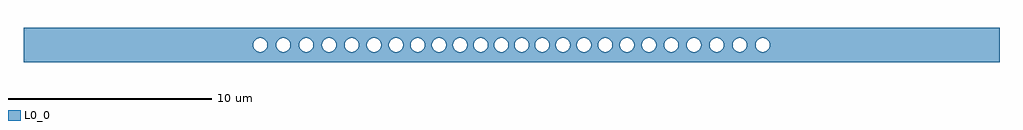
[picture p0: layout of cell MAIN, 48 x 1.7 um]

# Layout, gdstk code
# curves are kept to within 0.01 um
import gdstk
lib = gdstk.Library(unit=1e-6, precision=1e-09)
def P(c, l, *ps):  # polygons
    for p in ps: c.add(gdstk.Polygon(p, *l))
L0_0 = (0, 0)

main = lib.new_cell('MAIN')
P(main, L0_0, [(-12.388,-0.352),(-12.505,-0.32),(-12.615,-0.239),(-12.615,-0.85),(-12.388,-0.85)],
  [(-12.377,0.353),(-12.246,0.337),(-12.122,0.267),(-12.043,0.168),(-12.006,0.058),(-12.006,0.85),(-12.388,0.85),(-12.388,0.352)],
  [(-12.006,-0.058),(-12.051,-0.182),(-12.131,-0.274),(-12.246,-0.337),(-12.388,-0.352),(-12.388,-0.85),(-12.006,-0.85)],
  [(24,0.85),(12.617,0.85),(12.617,0.237),(12.68,0.139),(12.708,0.016),(12.684,-0.129),(12.617,-0.237),(12.617,-0.85),(24,-0.85)],
  [(-11.308,0.343),(-11.176,0.351),(-11.065,0.317),(-10.956,0.233),(-10.891,0.125),(-10.891,0.85),(-11.318,0.85),(-11.318,0.34)],
  [(-10.891,-0.125),(-10.956,-0.233),(-11.065,-0.317),(-11.197,-0.353),(-11.318,-0.34),(-11.318,-0.85),(-10.891,-0.85)],
  [(-11.576,0.003),(-11.558,0.112),(-11.497,0.223),(-11.41,0.3),(-11.318,0.34),(-11.318,0.85),(-12.006,0.85),(-12.001,0)],
  [(-10.243,0.32),(-10.115,0.353),(-9.984,0.337),(-9.86,0.267),(-9.789,0.182),(-9.789,0.85),(-10.252,0.85)],
  [(-9.789,-0.182),(-9.869,-0.274),(-9.994,-0.34),(-10.126,-0.352),(-10.252,-0.315),(-10.252,-0.85),(-9.789,-0.85)],
  [(-10.446,0.003),(-10.433,0.097),(-10.389,0.193),(-10.327,0.265),(-10.252,0.315),(-10.252,0.85),(-10.891,0.85),(-10.891,0.125),(-10.869,0)],
  [(-9.175,0.288),(-9.061,0.342),(-8.924,0.351),(-8.803,0.312),(-8.708,0.237),(-8.708,0.85),(-9.184,0.85)],
  [(-8.708,-0.237),(-8.803,-0.312),(-8.934,-0.352),(-9.061,-0.342),(-9.184,-0.282),(-9.184,-0.85),(-8.708,-0.85)],
  [(-9.324,0.003),(-9.312,0.092),(-9.283,0.166),(-9.184,0.282),(-9.184,0.85),(-9.789,0.85),(-9.789,0.182),(-9.75,0.089),(-9.739,0)],
  [(-8.119,0.239),(-8.014,0.318),(-7.881,0.353),(-7.75,0.337),(-7.643,0.28),(-7.643,0.85),(-8.123,0.85)],
  [(-7.643,-0.28),(-7.75,-0.337),(-7.892,-0.352),(-8.014,-0.318),(-8.123,-0.235),(-8.123,-0.85),(-7.643,-0.85)],
  [(-8.212,0.003),(-8.189,0.127),(-8.123,0.235),(-8.123,0.85),(-8.708,0.85),(-8.708,0.237),(-8.637,0.12),(-8.617,0)],
  [(-7.06,0.188),(-6.979,0.279),(-6.851,0.342),(-6.715,0.351),(-6.604,0.317),(-6.604,0.85),(-7.063,0.85)],
  [(-6.604,-0.317),(-6.736,-0.353),(-6.872,-0.336),(-6.979,-0.279),(-7.063,-0.184),(-7.063,-0.85),(-6.604,-0.85)],
  [(-7.114,0.003),(-7.104,0.087),(-7.063,0.184),(-7.063,0.85),(-7.643,0.85),(-7.643,0.28),(-7.54,0.154),(-7.505,0)],
  [(-6.007,0.132),(-5.936,0.243),(-5.834,0.318),(-5.701,0.353),(-5.581,0.34),(-5.581,0.85),(-6.009,0.85)],
  [(-5.581,-0.34),(-5.701,-0.353),(-5.834,-0.318),(-5.936,-0.243),(-6.009,-0.127),(-6.009,-0.85),(-5.581,-0.85)],
  [(-6.032,0.003),(-6.009,0.127),(-6.009,0.85),(-6.604,0.85),(-6.604,0.317),(-6.521,0.26),(-6.463,0.191),(-6.426,0.115),(-6.407,0)],
  [(-4.96,0.066),(-4.915,0.184),(-4.831,0.279),(-4.714,0.339),(-4.582,0.352),(-4.582,0.85),(-4.961,0.85)],
  [(-4.582,-0.352),(-4.714,-0.339),(-4.831,-0.279),(-4.915,-0.184),(-4.961,-0.061),(-4.961,-0.85),(-4.582,-0.85)],
  [(-4.966,0.003),(-4.961,0.85),(-5.581,0.85),(-5.581,0.34),(-5.48,0.293),(-5.399,0.217),(-5.344,0.115),(-5.325,0)],
  [(-3.917,0.003),(-3.894,0.127),(-3.821,0.243),(-3.719,0.318),(-3.597,0.352),(-3.597,0.85),(-4.259,0.85),(-4.259,-0.003)],
  [(-3.597,-0.352),(-3.719,-0.318),(-3.821,-0.243),(-3.888,-0.142),(-3.917,-0.003),(-4.259,-0.003),(-4.259,-0.85),(-3.597,-0.85)],
  [(-3.586,0.353),(-3.455,0.337),(-3.34,0.274),(-3.26,0.182),(-3.216,0.063),(-3.216,0.85),(-3.597,0.85),(-3.597,0.352)],
  [(-3.216,-0.063),(-3.26,-0.182),(-3.361,-0.29),(-3.481,-0.344),(-3.597,-0.352),(-3.597,-0.85),(-3.216,-0.85)],
  [(-4.259,0.85),(-4.582,0.85),(-4.582,0.352),(-4.46,0.319),(-4.361,0.249),(-4.282,0.125),(-4.259,0)],
  [(-2.62,0.342),(-2.484,0.351),(-2.363,0.312),(-2.271,0.241),(-2.199,0.125),(-2.199,0.85),(-2.631,0.85),(-2.631,0.339)],
  [(-2.199,-0.125),(-2.271,-0.241),(-2.377,-0.319),(-2.505,-0.353),(-2.631,-0.339),(-2.631,-0.85),(-2.199,-0.85)],
  [(-2.883,0.003),(-2.864,0.117),(-2.811,0.215),(-2.731,0.291),(-2.631,0.339),(-2.631,0.85),(-3.216,0.85),(-3.21,0)],
  [(-1.66,0.32),(-1.532,0.353),(-1.412,0.34),(-1.307,0.29),(-1.209,0.186),(-1.209,0.85),(-1.67,0.85),(-1.67,0.315)],
  [(-1.209,-0.186),(-1.307,-0.29),(-1.412,-0.34),(-1.554,-0.351),(-1.67,-0.315),(-1.67,-0.85),(-1.209,-0.85)],
  [(-1.863,0.003),(-1.853,0.087),(-1.812,0.184),(-1.752,0.258),(-1.67,0.315),(-1.67,0.85),(-2.199,0.85),(-2.199,0.125),(-2.176,0)],
  [(-0.706,0.288),(-0.576,0.346),(-0.455,0.351),(-0.334,0.312),(-0.239,0.237),(-0.239,0.85),(-0.714,0.85)],
  [(-0.239,-0.237),(-0.334,-0.312),(-0.465,-0.352),(-0.602,-0.339),(-0.714,-0.282),(-0.714,-0.85),(-0.239,-0.85)],
  [(-0.854,0.003),(-0.816,0.161),(-0.714,0.282),(-0.714,0.85),(-1.209,0.85),(-1.209,0.186),(-1.169,0.094),(-1.156,0)],
  [(0.24,0.239),(0.346,0.318),(0.478,0.353),(0.599,0.34),(0.712,0.283),(0.712,0.85),(0.237,0.85)],
  [(0.712,-0.283),(0.599,-0.34),(0.457,-0.351),(0.327,-0.308),(0.237,-0.235),(0.237,-0.85),(0.712,-0.85)],
  [(0.147,0.003),(0.167,0.117),(0.237,0.235),(0.237,0.85),(-0.239,0.85),(-0.239,0.237),(-0.166,0.115),(-0.147,0)],
  [(1.211,0.188),(1.292,0.279),(1.409,0.339),(1.535,0.353),(1.667,0.317),(1.667,0.85),(1.208,0.85)],
  [(1.667,-0.317),(1.535,-0.353),(1.409,-0.339),(1.292,-0.279),(1.208,-0.184),(1.208,-0.85),(1.667,-0.85)],
  [(1.156,0.003),(1.171,0.102),(1.208,0.184),(1.208,0.85),(0.712,0.85),(0.712,0.283),(0.815,0.163),(0.846,0.079),(0.854,0)],
  [(2.2,0.127),(2.269,0.239),(2.375,0.318),(2.507,0.353),(2.628,0.34),(2.628,0.85),(2.198,0.85)],
  [(2.628,-0.34),(2.507,-0.353),(2.375,-0.318),(2.269,-0.239),(2.198,-0.122),(2.198,-0.85),(2.628,-0.85)],
  [(2.176,0.003),(2.198,0.122),(2.198,0.85),(1.667,0.85),(1.667,0.317),(1.75,0.26),(1.808,0.191),(1.851,0.094),(1.863,0)],
  [(3.216,0.066),(3.256,0.175),(3.346,0.279),(3.473,0.342),(3.594,0.352),(3.594,0.85),(3.215,0.85)],
  [(3.594,-0.352),(3.473,-0.342),(3.346,-0.279),(3.256,-0.175),(3.215,-0.061),(3.215,-0.85),(3.594,-0.85)],
  [(3.917,0.85),(3.594,0.85),(3.594,0.352),(3.721,0.317),(3.819,0.245),(3.895,0.125),(3.917,0.003)],
  [(3.917,-0.003),(3.895,-0.125),(3.819,-0.245),(3.721,-0.317),(3.594,-0.352),(3.594,-0.85),(3.917,-0.85)],
  [(4.259,0.003),(4.279,0.117),(4.352,0.239),(4.458,0.318),(4.58,0.352),(4.58,0.85),(3.917,0.85),(3.917,-0.003)],
  [(4.58,-0.352),(4.458,-0.318),(4.352,-0.239),(4.279,-0.117),(4.259,-0.003),(3.917,-0.003),(3.917,-0.85),(4.58,-0.85)],
  [(4.59,0.353),(4.721,0.337),(4.837,0.274),(4.911,0.191),(4.961,0.063),(4.961,0.85),(4.58,0.85),(4.58,0.352)],
  [(4.961,-0.063),(4.911,-0.191),(4.816,-0.29),(4.696,-0.344),(4.58,-0.352),(4.58,-0.85),(4.961,-0.85)],
  [(3.21,0.003),(3.215,0.85),(2.628,0.85),(2.628,0.34),(2.733,0.29),(2.816,0.208),(2.863,0.12),(2.883,0)],
  [(5.588,0.342),(5.725,0.351),(5.836,0.317),(5.934,0.245),(6.008,0.129),(6.008,0.85),(5.578,0.85),(5.578,0.339)],
  [(6.008,-0.129),(5.934,-0.245),(5.836,-0.317),(5.704,-0.353),(5.578,-0.339),(5.578,-0.85),(6.008,-0.85)],
  [(5.325,0.003),(5.343,0.112),(5.394,0.21),(5.469,0.285),(5.578,0.339),(5.578,0.85),(4.961,0.85),(4.966,0)],
  [(6.611,0.32),(6.738,0.353),(6.859,0.34),(6.985,0.274),(7.061,0.186),(7.061,0.85),(6.601,0.85),(6.601,0.315)],
  [(7.061,-0.186),(6.985,-0.274),(6.859,-0.34),(6.717,-0.351),(6.601,-0.315),(6.601,-0.85),(7.061,-0.85)],
  [(6.407,0.003),(6.419,0.092),(6.459,0.184),(6.519,0.258),(6.601,0.315),(6.601,0.85),(6.008,0.85),(6.008,0.129),(6.032,0)],
  [(7.649,0.285),(7.768,0.342),(7.905,0.351),(8.035,0.307),(8.121,0.237),(8.121,0.85),(7.641,0.85)],
  [(8.121,-0.237),(8.016,-0.317),(7.884,-0.353),(7.748,-0.336),(7.641,-0.279),(7.641,-0.85),(8.121,-0.85)],
  [(7.505,0.003),(7.541,0.156),(7.641,0.279),(7.641,0.85),(7.061,0.85),(7.061,0.186),(7.102,0.094),(7.114,0)],
  [(8.71,0.239),(8.815,0.318),(8.937,0.352),(9.068,0.34),(9.182,0.283),(9.182,0.85),(8.706,0.85)],
  [(9.182,-0.283),(9.068,-0.34),(8.927,-0.351),(8.815,-0.318),(8.706,-0.235),(8.706,-0.85),(9.182,-0.85)],
  [(8.617,0.003),(8.638,0.122),(8.706,0.235),(8.706,0.85),(8.121,0.85),(8.121,0.237),(8.19,0.125),(8.212,0)],
  [(9.791,0.184),(9.883,0.285),(10.002,0.342),(10.139,0.351),(10.25,0.317),(10.25,0.85),(9.788,0.85)],
  [(10.25,-0.317),(10.139,-0.351),(10.002,-0.342),(9.875,-0.279),(9.788,-0.179),(9.788,-0.85),(10.25,-0.85)],
  [(9.739,0.003),(9.751,0.092),(9.788,0.179),(9.788,0.85),(9.182,0.85),(9.182,0.283),(9.279,0.173),(9.314,0.084),(9.324,0)],
  [(10.892,0.127),(10.965,0.243),(11.067,0.318),(11.189,0.352),(11.315,0.341),(11.315,0.85),(10.89,0.85)],
  [(11.315,-0.341),(11.189,-0.352),(11.067,-0.318),(10.965,-0.243),(10.89,-0.122),(10.89,-0.85),(11.315,-0.85)],
  [(10.869,0.003),(10.89,0.122),(10.89,0.85),(10.25,0.85),(10.25,0.317),(10.333,0.26),(10.396,0.182),(10.435,0.089),(10.446,0)],
  [(12.006,0.061),(12.047,0.175),(12.137,0.279),(12.264,0.342),(12.385,0.352),(12.385,0.85),(12.005,0.85)],
  [(12.385,-0.352),(12.264,-0.342),(12.137,-0.279),(12.047,-0.175),(12.005,-0.055),(12.005,-0.85),(12.385,-0.85)],
  [(-12.615,-0.239),(-12.681,-0.137),(-12.708,-0.019),(-12.683,0.132),(-12.615,0.239),(-12.615,0.85),(-24,0.85),(-24,-0.85),(-12.615,-0.85)],
  [(-12.611,0.243),(-12.505,0.32),(-12.388,0.352),(-12.388,0.85),(-12.615,0.85)],
  [(12.617,0.85),(12.385,0.85),(12.385,0.352),(12.512,0.317),(12.617,0.237)],
  [(12.617,-0.237),(12.512,-0.317),(12.385,-0.352),(12.385,-0.85),(12.617,-0.85)],
  [(-11.318,-0.34),(-11.432,-0.285),(-11.51,-0.206),(-11.558,-0.112),(-11.576,0),(-12.001,0),(-12.006,-0.85),(-11.318,-0.85)],
  [(-10.252,-0.315),(-10.327,-0.265),(-10.389,-0.193),(-10.433,-0.097),(-10.446,0),(-10.869,0),(-10.891,-0.125),(-10.891,-0.85),(-10.252,-0.85)],
  [(-9.184,-0.282),(-9.283,-0.166),(-9.312,-0.092),(-9.324,0),(-9.739,0),(-9.75,-0.089),(-9.789,-0.182),(-9.789,-0.85),(-9.184,-0.85)],
  [(-8.123,-0.235),(-8.189,-0.127),(-8.212,0),(-8.617,0),(-8.637,-0.12),(-8.708,-0.237),(-8.708,-0.85),(-8.123,-0.85)],
  [(-7.063,-0.184),(-7.104,-0.087),(-7.114,0),(-7.505,0),(-7.54,-0.154),(-7.643,-0.28),(-7.643,-0.85),(-7.063,-0.85)],
  [(-6.009,-0.127),(-6.032,0),(-6.407,0),(-6.426,-0.115),(-6.463,-0.191),(-6.521,-0.26),(-6.604,-0.317),(-6.604,-0.85),(-6.009,-0.85)],
  [(-4.961,-0.061),(-4.966,0),(-5.325,0),(-5.344,-0.115),(-5.399,-0.217),(-5.48,-0.293),(-5.581,-0.34),(-5.581,-0.85),(-4.961,-0.85)],
  [(-4.259,0),(-4.282,-0.125),(-4.361,-0.249),(-4.46,-0.319),(-4.582,-0.352),(-4.582,-0.85),(-4.259,-0.85)],
  [(-2.631,-0.339),(-2.731,-0.291),(-2.811,-0.215),(-2.864,-0.117),(-2.883,0),(-3.21,0),(-3.216,-0.85),(-2.631,-0.85)],
  [(-1.67,-0.315),(-1.752,-0.258),(-1.812,-0.184),(-1.853,-0.087),(-1.863,0),(-2.176,0),(-2.199,-0.125),(-2.199,-0.85),(-1.67,-0.85)],
  [(-0.714,-0.282),(-0.779,-0.219),(-0.823,-0.147),(-0.854,0),(-1.156,0),(-1.169,-0.094),(-1.209,-0.186),(-1.209,-0.85),(-0.714,-0.85)],
  [(0.237,-0.235),(0.167,-0.117),(0.147,0),(-0.147,0),(-0.166,-0.115),(-0.239,-0.237),(-0.239,-0.85),(0.237,-0.85)],
  [(1.208,-0.184),(1.171,-0.102),(1.156,0),(0.854,0),(0.846,-0.079),(0.815,-0.163),(0.712,-0.283),(0.712,-0.85),(1.208,-0.85)],
  [(2.198,-0.122),(2.176,0),(1.863,0),(1.851,-0.094),(1.808,-0.191),(1.75,-0.26),(1.667,-0.317),(1.667,-0.85),(2.198,-0.85)],
  [(3.215,-0.061),(3.21,0),(2.883,0),(2.868,-0.104),(2.822,-0.2),(2.733,-0.29),(2.628,-0.34),(2.628,-0.85),(3.215,-0.85)],
  [(5.578,-0.339),(5.469,-0.285),(5.388,-0.202),(5.343,-0.112),(5.325,0),(4.966,0),(4.961,-0.85),(5.578,-0.85)],
  [(6.601,-0.315),(6.519,-0.258),(6.459,-0.184),(6.419,-0.092),(6.407,0),(6.032,0),(6.008,-0.129),(6.008,-0.85),(6.601,-0.85)],
  [(7.641,-0.279),(7.541,-0.156),(7.505,0),(7.114,0),(7.102,-0.094),(7.061,-0.186),(7.061,-0.85),(7.641,-0.85)],
  [(8.706,-0.235),(8.638,-0.122),(8.617,0),(8.212,0),(8.19,-0.125),(8.121,-0.237),(8.121,-0.85),(8.706,-0.85)],
  [(9.788,-0.179),(9.751,-0.092),(9.739,0),(9.324,0),(9.314,-0.084),(9.279,-0.173),(9.182,-0.283),(9.182,-0.85),(9.788,-0.85)],
  [(10.89,-0.122),(10.869,0),(10.446,0),(10.435,-0.089),(10.396,-0.182),(10.333,-0.26),(10.25,-0.317),(10.25,-0.85),(10.89,-0.85)],
  [(12.005,-0.055),(12.001,0),(11.576,0),(11.557,-0.115),(11.502,-0.217),(11.421,-0.293),(11.315,-0.341),(11.315,-0.85),(12.005,-0.85)],
  [(12.001,0.003),(12.005,0.85),(11.315,0.85),(11.315,0.341),(11.421,0.293),(11.502,0.217),(11.557,0.115),(11.576,0)])

lib.write_gds('MAIN.gds')
